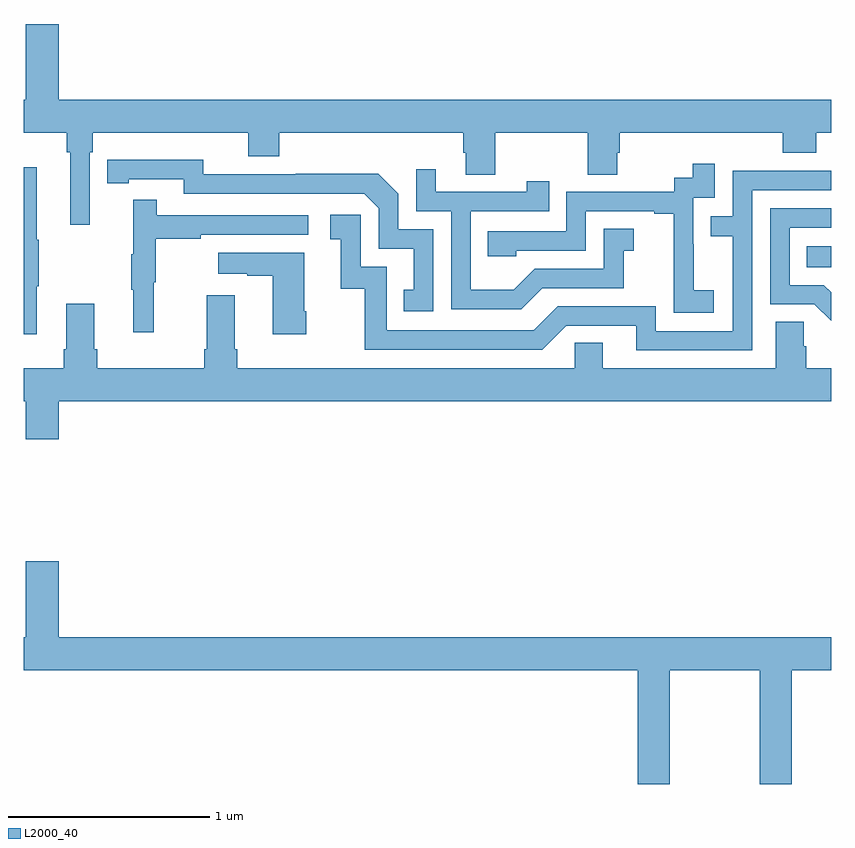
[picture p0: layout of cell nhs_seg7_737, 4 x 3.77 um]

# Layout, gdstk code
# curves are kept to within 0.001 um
import gdstk
lib = gdstk.Library(unit=1e-6, precision=1e-09)
def R(c, l, rs):  # rectangles x0, y0, x1, y1
    for r in rs: c.add(gdstk.rectangle(r[:2], r[2:], *l))
def P(c, l, *ps):  # polygons
    for p in ps: c.add(gdstk.Polygon(p, *l))
L2000_40 = (2000, 40)

nhs_seg7_737 = lib.new_cell('nhs_seg7_737')
R(nhs_seg7_737, L2000_40, [(168.88,1054.562,169,1054.666)])
P(nhs_seg7_737, L2000_40, [(165.327,1055.132),(165.341,1055.132),(165.341,1055.228),(166.112,1055.228),(166.112,1055.111),(166.265,1055.111),(166.265,1055.228),(167.177,1055.228),(167.177,1055.13),(167.189,1055.13),(167.189,1055.02),(167.337,1055.02),(167.337,1055.228),(167.794,1055.228),(167.794,1055.02),(167.941,1055.02),(167.941,1055.13),(167.954,1055.13),(167.954,1055.228),(168.761,1055.228),(168.761,1055.129),(168.926,1055.129),(168.926,1055.228),(169,1055.228),(169,1055.392),(165.172,1055.392),(165.172,1055.767),(165.008,1055.767),(165.008,1055.392),(165,1055.392),(165,1055.228),(165.211,1055.228),(165.211,1055.132),(165.23,1055.132),(165.23,1054.773),(165.327,1054.773)],
  [(167.028,1054.749),(166.854,1054.749),(166.854,1054.926),(166.756,1055.024),(166.348,1055.024),(166.348,1055.022),(165.888,1055.022),(165.888,1055.095),(165.412,1055.094),(165.412,1054.978),(165.52,1054.978),(165.52,1054.998),(165.792,1054.998),(165.792,1054.926),(166.686,1054.926),(166.758,1054.854),(166.758,1054.653),(166.931,1054.653),(166.931,1054.449),(166.882,1054.449),(166.882,1054.344),(167.028,1054.344)],
  [(168.418,1054.447),(168.32,1054.447),(168.32,1054.676),(168.318,1054.676),(168.318,1054.905),(168.423,1054.905),(168.423,1055.074),(168.315,1055.074),(168.315,1055.004),(168.222,1055.004),(168.222,1054.935),(167.688,1054.935),(167.688,1054.74),(167.299,1054.74),(167.299,1054.617),(167.439,1054.617),(167.439,1054.644),(167.784,1054.644),(167.784,1054.839),(168.125,1054.839),(168.125,1054.827),(168.221,1054.827),(168.221,1054.543),(168.22,1054.543),(168.22,1054.337),(168.418,1054.337)],
  [(165.064,1054.468),(165.072,1054.468),(165.072,1054.698),(165.064,1054.698),(165.064,1055.056),(165,1055.056),(165,1054.23),(165.064,1054.23)],
  [(167.569,1054.458),(167.973,1054.458),(167.973,1054.643),(168.022,1054.643),(168.022,1054.753),(167.874,1054.753),(167.874,1054.554),(167.532,1054.554),(167.428,1054.45),(167.214,1054.45),(167.214,1054.839),(167.603,1054.839),(167.603,1054.987),(167.492,1054.987),(167.492,1054.935),(167.041,1054.935),(167.041,1055.047),(166.944,1055.047),(166.944,1054.839),(167.118,1054.839),(167.118,1054.353),(167.464,1054.353)],
  [(168.609,1054.944),(169,1054.944),(169,1055.04),(168.513,1055.04),(168.513,1054.815),(168.403,1054.815),(168.403,1054.714),(168.513,1054.714),(168.513,1054.245),(168.132,1054.245),(168.132,1054.368),(167.646,1054.368),(167.526,1054.248),(166.797,1054.248),(166.797,1054.563),(166.668,1054.563),(166.668,1054.822),(166.518,1054.822),(166.518,1054.701),(166.571,1054.701),(166.571,1054.455),(166.689,1054.455),(166.689,1054.152),(167.568,1054.152),(167.688,1054.272),(168.035,1054.272),(168.035,1054.149),(168.609,1054.149)],
  [(165.644,1054.488),(165.652,1054.488),(165.652,1054.702),(165.875,1054.702),(165.875,1054.722),(166.408,1054.722),(166.408,1054.818),(165.659,1054.818),(165.659,1054.897),(165.542,1054.897),(165.542,1054.625),(165.531,1054.625),(165.531,1054.451),(165.542,1054.451),(165.542,1054.239),(165.644,1054.239)],
  [(169,1054.437),(168.964,1054.473),(168.795,1054.473),(168.795,1054.758),(169,1054.758),(169,1054.854),(168.699,1054.854),(168.699,1054.377),(168.918,1054.377),(169,1054.296)],
  [(166.398,1054.342),(166.39,1054.342),(166.39,1054.633),(165.963,1054.633),(165.963,1054.529),(166.106,1054.529),(166.106,1054.519),(166.232,1054.519),(166.232,1054.23),(166.398,1054.23)],
  [(165.172,1053.896),(169,1053.896),(169,1054.06),(168.878,1054.06),(168.878,1054.169),(168.864,1054.169),(168.864,1054.292),(168.725,1054.292),(168.725,1054.06),(167.869,1054.06),(167.869,1054.187),(167.73,1054.187),(167.73,1054.06),(166.058,1054.06),(166.058,1054.156),(166.045,1054.156),(166.045,1054.423),(165.905,1054.423),(165.905,1054.156),(165.893,1054.156),(165.893,1054.06),(165.362,1054.06),(165.362,1054.156),(165.349,1054.156),(165.349,1054.381),(165.209,1054.381),(165.209,1054.156),(165.197,1054.156),(165.197,1054.06),(165,1054.06),(165,1053.896),(165.008,1053.896),(165.008,1053.708),(165.172,1053.708)],
  [(168.201,1052.564),(168.646,1052.564),(168.646,1052),(168.806,1052),(168.806,1052.564),(169,1052.564),(169,1052.728),(165.172,1052.728),(165.172,1053.103),(165.008,1053.103),(165.008,1052.728),(165,1052.728),(165,1052.564),(168.041,1052.564),(168.041,1052),(168.201,1052)])

lib.write_gds('nhs_seg7_737.gds')
